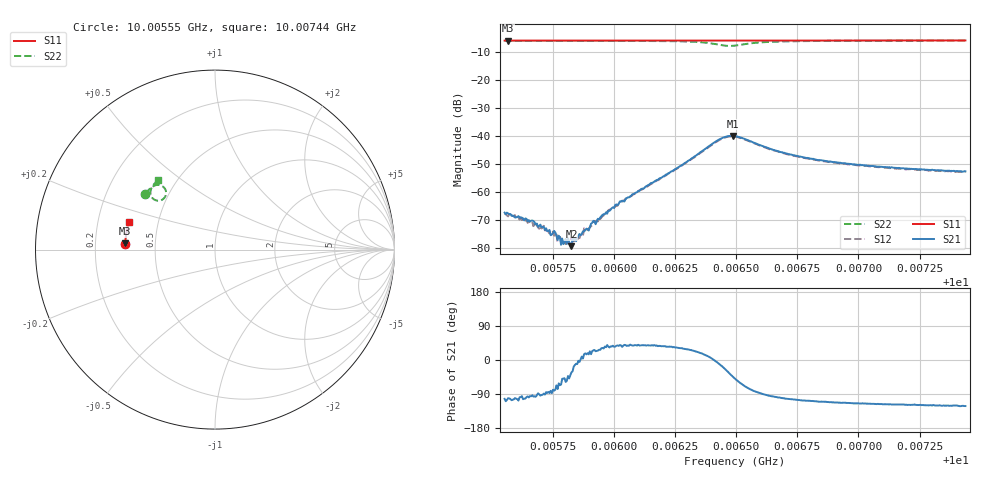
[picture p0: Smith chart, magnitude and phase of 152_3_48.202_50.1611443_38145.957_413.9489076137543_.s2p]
#  HZ  S  RI  R  50.00
! Rohde & Schwarz Vector Network Analyzer
! Rohde-Schwarz,ZNB20-2Port,1311601062101988,3.16
! Created: UTC 3/20/2024, 11:42:52 AM
! freq[Hz]  re:S11  im:S11  re:S21  im:S21  re:S12  im:S12  re:S22  im:S22
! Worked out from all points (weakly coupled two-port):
!   401 points, 10.00555 GHz to 10.00744 GHz, reference 50 ohm
!   highest |S21| = -39.94 dB at 10.00649 GHz (marker M1); lowest = -79.2 dB at 10.00583 GHz (marker M2)
!   lowest |S11| = -6.0 dB at 10.00557 GHz (marker M3), VSWR 3.01, Z = 16.7 + j1.53 ohm
!   |S11| at or under -10 dB: nowhere
!   |S22| runs from -7.9 to -6.0 dB; largest |S21 - S12| = 0.00059
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1.0005554e10  -0.4996 0.0333  -9.45e-05 -0.000422  -6.61e-05 -0.000411  -0.3878 0.3106
1.0005568e10  -0.4995 0.0344  -7.88e-05 -0.000411  -6.6e-05 -0.000365  -0.3871 0.3114
1.0005671e10  -0.4993 0.0411  -3.49e-05 -0.000305  -1.23e-05 -0.000248  -0.3821 0.3176
1.0005737e10  -0.499 0.0455  9.99e-06 -0.000212  1.4e-05 -0.000184  -0.3791 0.3217
1.0005756e10  -0.499 0.0467  3.31e-05 -0.000201  1.92e-05 -0.000167  -0.3781 0.323
1.0005775e10  -0.4988 0.048  7.95e-05 -0.000148  8.5e-05 -0.00013  -0.3771 0.3242
1.0005798e10  -0.4988 0.0496  8.63e-05 -9.73e-05  8.83e-05 -9.6e-05  -0.3758 0.3256
1.0005827e10  -0.4986 0.0513  9.2e-05 -5.91e-05  0.000141 -6.1e-05  -0.3743 0.3274
1.000585e10  -0.4985 0.0528  0.000148 -2.81e-05  0.000141 -2.85e-05  -0.373 0.329
1.0005869e10  -0.4984 0.054  0.000179 2.78e-05  0.000176 6.66e-06  -0.372 0.3303
1.0005893e10  -0.4982 0.0556  0.000211 6.82e-05  0.000207 5.29e-05  -0.3705 0.3316
1.0005911e10  -0.4982 0.0568  0.000262 0.000111  0.000243 9.34e-05  -0.3693 0.3329
1.0005973e10  -0.4979 0.0607  0.000321 0.000263  0.000354 0.00027  -0.3652 0.3371
1.0006029e10  -0.4974 0.0644  0.000532 0.000426  0.000524 0.000438  -0.3611 0.341
1.0006185e10  -0.4963 0.0745  0.00138 0.00105  0.00127 0.00108  -0.3453 0.3528
1.0006425e10  -0.4936 0.0897  0.00833 -0.00107  0.00815 -0.000612  -0.274 0.3286
1.0006486e10  -0.4929 0.0931  0.00727 -0.00697  0.00749 -0.00643  -0.2944 0.2779
1.0006495e10  -0.4929 0.0936  0.00648 -0.00754  0.00671 -0.00705  -0.3028 0.2743
1.0006669e10  -0.4917 0.1048  -0.000817 -0.00535  -0.000556 -0.0053  -0.3599 0.3201
1.0006811e10  -0.4901 0.1139  -0.00122 -0.00372  -0.00106 -0.0037  -0.3539 0.343
1.0007126e10  -0.4858 0.1339  -0.00128 -0.00248  -0.00108 -0.00245  -0.3365 0.3688
1.0007437e10  -0.4807 0.1533  -0.00123 -0.00201  -0.0011 -0.00203  -0.32 0.3863
